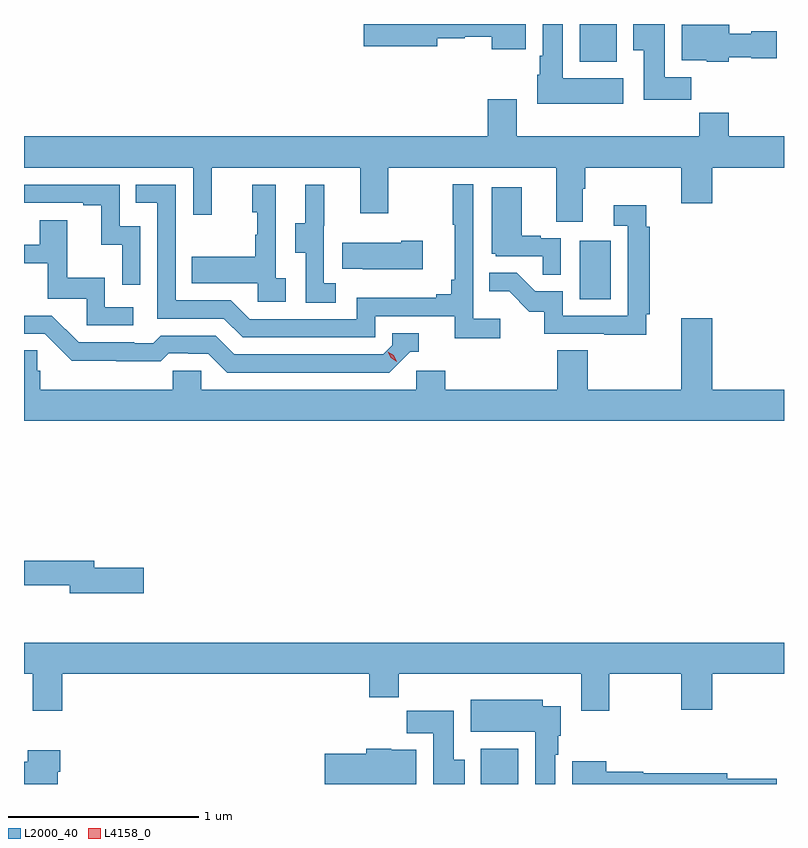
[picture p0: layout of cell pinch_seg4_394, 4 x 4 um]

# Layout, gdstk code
import gdstk
lib = gdstk.Library(unit=1e-6, precision=1e-09)
def R(c, l, rs):  # rectangles x0, y0, x1, y1
    for r in rs: c.add(gdstk.rectangle(r[:2], r[2:], *l))
def P(c, l, *ps):  # polygons
    for p in ps: c.add(gdstk.Polygon(p, *l))
L2000_40 = (2000, 40)
L4158_0 = (4158, 0)

pinch_seg4_394 = lib.new_cell('pinch_seg4_394')
R(pinch_seg4_394, L2000_40, [(979.139,781.588,979.335,781.774), (979.658,784.14,979.822,784.447), (979.659,785.39,979.855,785.588)])
P(pinch_seg4_394, L2000_40, [(979.375,785.588),(978.522,785.588),(978.522,785.47),(978.91,785.47),(978.91,785.512),(979.053,785.512),(979.053,785.52),(979.196,785.52),(979.196,785.456),(979.375,785.456)],
  [(979.888,785.302),(979.57,785.302),(979.57,785.588),(979.463,785.588),(979.463,785.422),(979.448,785.422),(979.448,785.322),(979.436,785.322),(979.436,785.168),(979.888,785.168)],
  [(980.246,785.308),(980.107,785.308),(980.107,785.588),(979.94,785.588),(979.94,785.449),(979.997,785.449),(979.997,785.19),(980.246,785.19)],
  [(980.442,785.414),(980.562,785.414),(980.562,785.407),(980.695,785.407),(980.695,785.549),(980.562,785.549),(980.562,785.536),(980.446,785.536),(980.446,785.584),(980.195,785.584),(980.195,785.396),(980.328,785.396),(980.328,785.39),(980.442,785.39)],
  [(979.675,784.72),(979.688,784.72),(979.688,784.832),(980.192,784.832),(980.192,784.644),(980.356,784.644),(980.356,784.832),(980.734,784.832),(980.734,784.996),(980.444,784.996),(980.444,785.12),(980.287,785.12),(980.287,784.996),(979.327,784.996),(979.327,785.191),(979.175,785.191),(979.175,784.996),(976.734,784.996),(976.734,784.832),(977.625,784.832),(977.625,784.584),(977.723,784.584),(977.723,784.832),(978.503,784.832),(978.503,784.593),(978.651,784.593),(978.651,784.832),(979.535,784.832),(979.535,784.546),(979.675,784.546)],
  [(979.24,784.036),(979.098,784.036),(979.098,784.744),(978.99,784.744),(978.99,784.531),(979.001,784.531),(979.001,784.243),(978.982,784.243),(978.982,784.166),(978.905,784.166),(978.905,784.147),(978.486,784.147),(978.486,784.035),(977.922,784.035),(977.823,784.134),(977.532,784.134),(977.532,784.743),(977.323,784.743),(977.323,784.647),(977.436,784.647),(977.436,784.038),(977.786,784.038),(977.885,783.939),(978.582,783.939),(978.582,784.05),(979.001,784.05),(979.001,783.934),(979.24,783.934)],
  [(977.346,784.524),(977.238,784.524),(977.238,784.743),(976.734,784.743),(976.734,784.647),(977.045,784.647),(977.045,784.635),(977.141,784.635),(977.141,784.427),(977.25,784.427),(977.25,784.215),(977.346,784.215)],
  [(978.112,784.25),(978.06,784.25),(978.06,784.741),(977.936,784.741),(977.936,784.596),(977.962,784.596),(977.962,784.478),(977.952,784.478),(977.952,784.363),(977.617,784.363),(977.617,784.223),(977.964,784.223),(977.964,784.125),(978.112,784.125)],
  [(978.376,784.223),(978.312,784.223),(978.312,784.527),(978.314,784.527),(978.314,784.741),(978.215,784.741),(978.215,784.539),(978.161,784.539),(978.161,784.384),(978.216,784.384),(978.216,784.12),(978.376,784.12)],
  [(979.56,784.461),(979.454,784.461),(979.454,784.474),(979.354,784.474),(979.354,784.729),(979.196,784.729),(979.196,784.38),(979.218,784.38),(979.218,784.365),(979.465,784.365),(979.465,784.267),(979.56,784.267)],
  [(980.009,784.06),(980.027,784.06),(980.027,784.52),(980.009,784.52),(980.009,784.633),(979.839,784.633),(979.839,784.527),(979.911,784.527),(979.911,784.053),(979.569,784.053),(979.569,784.182),(979.425,784.182),(979.327,784.28),(979.183,784.28),(979.183,784.181),(979.287,784.181),(979.394,784.074),(979.471,784.074),(979.471,783.957),(979.789,783.957),(979.789,783.952),(980.009,783.952)],
  [(977.308,784.098),(977.16,784.098),(977.16,784.252),(976.961,784.252),(976.961,784.555),(976.817,784.555),(976.817,784.425),(976.734,784.425),(976.734,784.329),(976.859,784.329),(976.859,784.143),(977.064,784.143),(977.064,784.002),(977.308,784.002)],
  [(978.832,784.446),(978.719,784.446),(978.719,784.438),(978.409,784.438),(978.409,784.301),(978.517,784.301),(978.517,784.298),(978.832,784.298)],
  [(978.768,783.864),(978.811,783.864),(978.811,783.96),(978.672,783.96),(978.672,783.897),(978.624,783.849),(977.841,783.849),(977.742,783.948),(977.453,783.948),(977.414,783.909),(977.315,783.909),(977.315,783.912),(977.022,783.912),(976.881,784.053),(976.734,784.053),(976.734,783.957),(976.842,783.957),(976.984,783.815),(977.22,783.815),(977.22,783.813),(977.453,783.813),(977.495,783.855),(977.598,783.855),(977.598,783.852),(977.705,783.852),(977.804,783.753),(978.657,783.753)],
  [(980.734,783.664),(980.356,783.664),(980.356,784.039),(980.192,784.039),(980.192,783.664),(979.701,783.664),(979.701,783.872),(979.541,783.872),(979.541,783.664),(978.95,783.664),(978.95,783.762),(978.798,783.762),(978.798,783.664),(977.667,783.664),(977.667,783.762),(977.517,783.762),(977.517,783.664),(976.82,783.664),(976.82,783.762),(976.805,783.762),(976.805,783.872),(976.734,783.872),(976.734,783.5),(980.734,783.5)],
  [(977.365,782.726),(977.104,782.726),(977.104,782.762),(976.734,782.762),(976.734,782.634),(976.976,782.634),(976.976,782.591),(977.365,782.591)],
  [(976.934,782.168),(978.551,782.168),(978.551,782.044),(978.707,782.044),(978.707,782.168),(979.667,782.168),(979.667,781.974),(979.815,781.974),(979.815,782.168),(980.192,782.168),(980.192,781.98),(980.356,781.98),(980.356,782.168),(980.734,782.168),(980.734,782.332),(976.734,782.332),(976.734,782.168),(976.781,782.168),(976.781,781.974),(976.934,781.974)],
  [(979.531,781.742),(979.546,781.742),(979.546,781.842),(979.558,781.842),(979.558,781.996),(979.465,781.996),(979.465,782.032),(979.085,782.032),(979.085,781.862),(979.424,781.862),(979.424,781.588),(979.531,781.588)],
  [(979.054,781.716),(978.997,781.716),(978.997,781.974),(978.748,781.974),(978.748,781.856),(978.887,781.856),(978.887,781.588),(979.054,781.588)],
  [(978.799,781.768),(978.666,781.768),(978.666,781.774),(978.536,781.774),(978.536,781.746),(978.318,781.746),(978.318,781.588),(978.799,781.588)],
  [(976.912,781.652),(976.925,781.652),(976.925,781.765),(976.754,781.765),(976.754,781.704),(976.734,781.704),(976.734,781.588),(976.912,781.588)],
  [(980.695,781.616),(980.434,781.616),(980.434,781.645),(979.994,781.645),(979.994,781.652),(979.798,781.652),(979.798,781.708),(979.619,781.708),(979.619,781.588),(980.695,781.588)])
P(pinch_seg4_394, L4158_0, [(978.696,783.811),(978.665,783.831),(978.649,783.863),(978.649,783.864),(978.649,783.864),(978.68,783.844),(978.696,783.812),(978.696,783.811)])

lib.write_gds('pinch_seg4_394.gds')
